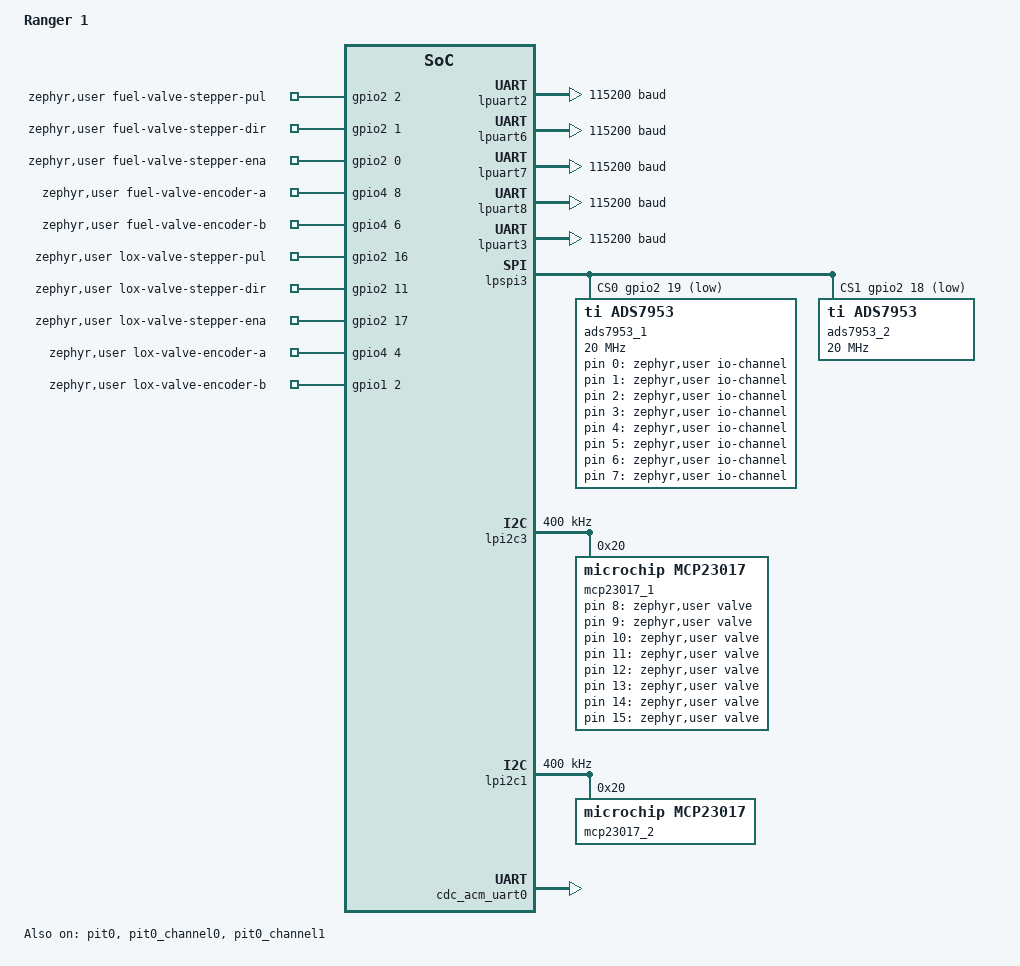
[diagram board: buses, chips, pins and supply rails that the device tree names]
/*
Ranger 1 board.
 */

/dts-v1/;

#include <../boards/pjrc/teensy4/teensy41.dts>

#define ANALOG_SENSORS_ADC_RESOLUTION 12
#define ANALOG_SENSORS_ADC_OVERSAMPLING 0

/ {
    model = "Ranger 1";

    aliases {
        // VN-300 IMU
        imu-uart = &lpuart6; // TX: Pin 1 (AD_B0_02), RX: Pin 0 (AD_B0_03)

        // TF02-Pro LiDARs
        lidar-1-uart = &lpuart7; // TX: Pin 29 (EMC_31), RX: Pin 28 (EMC_32)
        lidar-2-uart = &lpuart8; // TX: Pin 20 (AD_B1_10), RX: Pin 21 (AD_B1_11)

        // JAVAD TR-2S GNSS
        gnss-uart = &lpuart3; // TX: Pin 14, RX: Pin 13

        // // RFM95W LoRa tranceiver
        // lora-tranceiver = &sx1276;

        // Throttle motor driver hardware timers, controls PUL/DIR signals.
        fuel-valve-stepper-pulse-counter = &pit0_channel0;
        lox-valve-stepper-pulse-counter = &pit0_channel1;
    };

    zephyr,user {
        // Throttle motor drivers
        fuel-valve-stepper-pul-gpios = <&gpio2 2 GPIO_ACTIVE_HIGH>; // Pin 11
        fuel-valve-stepper-dir-gpios = <&gpio2 1 GPIO_ACTIVE_HIGH>; // Pin 12
        fuel-valve-stepper-ena-gpios = <&gpio2 0 GPIO_ACTIVE_HIGH>; // Pin 10
        fuel-valve-encoder-a-gpios = <&gpio4 8 GPIO_ACTIVE_HIGH>; // Pin 5
        fuel-valve-encoder-b-gpios = <&gpio4 6 GPIO_ACTIVE_HIGH>; // Pin 4

        lox-valve-stepper-pul-gpios = <&gpio2 16 GPIO_ACTIVE_HIGH>; // Pin 8
        lox-valve-stepper-dir-gpios = <&gpio2 11 GPIO_ACTIVE_HIGH>; // Pin 9
        lox-valve-stepper-ena-gpios = <&gpio2 17 GPIO_ACTIVE_HIGH>; // Pin 7
        lox-valve-encoder-a-gpios = <&gpio4 4 GPIO_ACTIVE_HIGH>; // Pin 2
        lox-valve-encoder-b-gpios = <&gpio1 2 GPIO_ACTIVE_HIGH>; // Pin 1

        // ADC channels used by AnalogSensors.
        analog-sensor-max-adc-channels = <16>;
        io-channels =
            <&ads7953_1 0>,
            <&ads7953_1 1>,
            <&ads7953_1 2>,
            <&ads7953_1 3>,
            <&ads7953_1 4>,
            <&ads7953_1 5>,
            <&ads7953_1 6>,
            <&ads7953_1 7>,
            <&ads7953_1 8>,
            <&ads7953_1 9>,
            <&ads7953_1 10>,
            <&ads7953_1 11>,
            <&ads7953_1 12>,
            <&ads7953_1 13>,
            <&ads7953_1 14>,
            <&ads7953_1 15>,
            <&ads7953_2 0>,
            <&ads7953_2 1>,
            <&ads7953_2 2>,
            <&ads7953_2 3>,
            <&ads7953_2 4>,
            <&ads7953_2 5>,
            <&ads7953_2 6>,
            <&ads7953_2 7>,
            <&ads7953_2 8>,
            <&ads7953_2 9>,
            <&ads7953_2 10>,
            <&ads7953_2 11>,
            <&ads7953_2 12>,
            <&ads7953_2 13>,
            <&ads7953_2 14>,
            <&ads7953_2 15>;
        analog-sensor-adcs = <&ads7953_1 &ads7953_2>;
        analog-sensor-adc-oversampling = <ANALOG_SENSORS_ADC_OVERSAMPLING>;
        analog-sensor-adc-resolution = <ANALOG_SENSORS_ADC_RESOLUTION>;

        // GPIOs connected to valves. Valve channel numbers are indexed by their position in this list.
        valve-gpios = 
            <&mcp23017_1 8 GPIO_ACTIVE_HIGH>,
            <&mcp23017_1 9 GPIO_ACTIVE_HIGH>,
            <&mcp23017_1 10 GPIO_ACTIVE_HIGH>,
            <&mcp23017_1 11 GPIO_ACTIVE_HIGH>,
            <&mcp23017_1 12 GPIO_ACTIVE_HIGH>,
            <&mcp23017_1 13 GPIO_ACTIVE_HIGH>,
            <&mcp23017_1 14 GPIO_ACTIVE_HIGH>,
            <&mcp23017_1 15 GPIO_ACTIVE_HIGH>,
            <&mcp23017_1 0 GPIO_ACTIVE_HIGH>,
            <&mcp23017_1 1 GPIO_ACTIVE_HIGH>,
            <&mcp23017_1 2 GPIO_ACTIVE_HIGH>,
            <&mcp23017_1 3 GPIO_ACTIVE_HIGH>,
            <&mcp23017_1 4 GPIO_ACTIVE_HIGH>,
            <&mcp23017_1 5 GPIO_ACTIVE_HIGH>,
            <&mcp23017_1 6 GPIO_ACTIVE_HIGH>,
            <&mcp23017_1 7 GPIO_ACTIVE_HIGH>,
            <&mcp23017_2 8 GPIO_ACTIVE_HIGH>,
            <&mcp23017_2 9 GPIO_ACTIVE_HIGH>,
            <&mcp23017_2 10 GPIO_ACTIVE_HIGH>,
            <&mcp23017_2 11 GPIO_ACTIVE_HIGH>,
            <&mcp23017_2 12 GPIO_ACTIVE_HIGH>,
            <&mcp23017_2 13 GPIO_ACTIVE_HIGH>,
            <&mcp23017_2 14 GPIO_ACTIVE_HIGH>,
            <&mcp23017_2 15 GPIO_ACTIVE_HIGH>,
            <&mcp23017_2 0 GPIO_ACTIVE_HIGH>,
            <&mcp23017_2 1 GPIO_ACTIVE_HIGH>,
            <&mcp23017_2 2 GPIO_ACTIVE_HIGH>,
            <&mcp23017_2 3 GPIO_ACTIVE_HIGH>,
            <&mcp23017_2 4 GPIO_ACTIVE_HIGH>,
            <&mcp23017_2 5 GPIO_ACTIVE_HIGH>,
            <&mcp23017_2 6 GPIO_ACTIVE_HIGH>,
            <&mcp23017_2 7 GPIO_ACTIVE_HIGH>;
    };

    chosen {
        zephyr,console = &lpuart2;
        // zephyr,console = &cdc_acm_uart0;
    };
};

// Debug logging
&lpuart2 {
    status = "okay";
    current-speed = <115200>;
};

// VN-300 IMU
&lpuart6 {
    status = "okay";
    current-speed = <115200>;
};

// LiDARs
&lpuart7 {
    status = "okay";
    current-speed = <115200>;
};

&lpuart8 {
    status = "okay";
    current-speed = <115200>;
};

// JAVAD TR-2S GNSS
&lpuart3 {
    status = "okay";
    current-speed = <115200>; // Is this right?
};

&lpspi3 {
    status = "okay";
    pinctrl-names = "default";
    pinctrl-0 = <&pinmux_lpspi3>;

    pcs-sck-delay = <10>;
    sck-pcs-delay = <40>;

    cs-gpios = <&gpio2 19 GPIO_ACTIVE_LOW>, // Pin 37
               <&gpio2 18 GPIO_ACTIVE_LOW>; // Pin 36

    ads7953_1: adc@0 {
        status = "okay";
        compatible = "ti,ads7953";
        reg = <0>;
        spi-max-frequency = <20000000>; // Maximum for ADS7953.
        #io-channel-cells = <1>;
        ti,range = <2>; // 2x V_REF of 2.5V

        #address-cells = <1>;
        #size-cells = <0>;

        channel@0 {
            reg = <0>;
            zephyr,gain = "ADC_GAIN_1";
            zephyr,reference = "ADC_REF_VDD_1";
            zephyr,acquisition-time = <ADC_ACQ_TIME_DEFAULT>;
            zephyr,resolution = <ANALOG_SENSORS_ADC_RESOLUTION>;
        };

        channel@1 {
            reg = <1>;
            zephyr,gain = "ADC_GAIN_1";
            zephyr,reference = "ADC_REF_VDD_1";
            zephyr,acquisition-time = <ADC_ACQ_TIME_DEFAULT>;
            zephyr,resolution = <ANALOG_SENSORS_ADC_RESOLUTION>;
        };

        channel@2 {
            reg = <2>;
            zephyr,gain = "ADC_GAIN_1";
            zephyr,reference = "ADC_REF_VDD_1";
            zephyr,acquisition-time = <ADC_ACQ_TIME_DEFAULT>;
            zephyr,resolution = <ANALOG_SENSORS_ADC_RESOLUTION>;
        };

        channel@3 {
            reg = <3>;
            zephyr,gain = "ADC_GAIN_1";
            zephyr,reference = "ADC_REF_VDD_1";
            zephyr,acquisition-time = <ADC_ACQ_TIME_DEFAULT>;
            zephyr,resolution = <ANALOG_SENSORS_ADC_RESOLUTION>;
        };

        channel@4 {
            reg = <4>;
            zephyr,gain = "ADC_GAIN_1";
            zephyr,reference = "ADC_REF_VDD_1";
            zephyr,acquisition-time = <ADC_ACQ_TIME_DEFAULT>;
            zephyr,resolution = <ANALOG_SENSORS_ADC_RESOLUTION>;
        };

        channel@5 {
            reg = <5>;
            zephyr,gain = "ADC_GAIN_1";
            zephyr,reference = "ADC_REF_VDD_1";
            zephyr,acquisition-time = <ADC_ACQ_TIME_DEFAULT>;
            zephyr,resolution = <ANALOG_SENSORS_ADC_RESOLUTION>;
        };

        channel@6 {
            reg = <6>;
            zephyr,gain = "ADC_GAIN_1";
            zephyr,reference = "ADC_REF_VDD_1";
            zephyr,acquisition-time = <ADC_ACQ_TIME_DEFAULT>;
            zephyr,resolution = <ANALOG_SENSORS_ADC_RESOLUTION>;
        };

        channel@7 {
            reg = <7>;
            zephyr,gain = "ADC_GAIN_1";
            zephyr,reference = "ADC_REF_VDD_1";
            zephyr,acquisition-time = <ADC_ACQ_TIME_DEFAULT>;
            zephyr,resolution = <ANALOG_SENSORS_ADC_RESOLUTION>;
        };

        channel@8 {
            reg = <8>;
            zephyr,gain = "ADC_GAIN_1";
            zephyr,reference = "ADC_REF_VDD_1";
            zephyr,acquisition-time = <ADC_ACQ_TIME_DEFAULT>;
            zephyr,resolution = <ANALOG_SENSORS_ADC_RESOLUTION>;
        };

        channel@9 {
            reg = <9>;
            zephyr,gain = "ADC_GAIN_1";
            zephyr,reference = "ADC_REF_VDD_1";
            zephyr,acquisition-time = <ADC_ACQ_TIME_DEFAULT>;
            zephyr,resolution = <ANALOG_SENSORS_ADC_RESOLUTION>;
        };

        channel@a {
            reg = <10>;
            zephyr,gain = "ADC_GAIN_1";
            zephyr,reference = "ADC_REF_VDD_1";
            zephyr,acquisition-time = <ADC_ACQ_TIME_DEFAULT>;
            zephyr,resolution = <ANALOG_SENSORS_ADC_RESOLUTION>;
        };

        channel@b {
            reg = <11>;
            zephyr,gain = "ADC_GAIN_1";
            zephyr,reference = "ADC_REF_VDD_1";
            zephyr,acquisition-time = <ADC_ACQ_TIME_DEFAULT>;
            zephyr,resolution = <ANALOG_SENSORS_ADC_RESOLUTION>;
        };

        channel@c {
            reg = <12>;
            zephyr,gain = "ADC_GAIN_1";
            zephyr,reference = "ADC_REF_VDD_1";
            zephyr,acquisition-time = <ADC_ACQ_TIME_DEFAULT>;
            zephyr,resolution = <ANALOG_SENSORS_ADC_RESOLUTION>;
        };

        channel@d {
            reg = <13>;
            zephyr,gain = "ADC_GAIN_1";
            zephyr,reference = "ADC_REF_VDD_1";
            zephyr,acquisition-time = <ADC_ACQ_TIME_DEFAULT>;
            zephyr,resolution = <ANALOG_SENSORS_ADC_RESOLUTION>;
        };

        channel@e {
            reg = <14>;
            zephyr,gain = "ADC_GAIN_1";
            zephyr,reference = "ADC_REF_VDD_1";
            zephyr,acquisition-time = <ADC_ACQ_TIME_DEFAULT>;
            zephyr,resolution = <ANALOG_SENSORS_ADC_RESOLUTION>;
        };

        channel@f {
            reg = <15>;
            zephyr,gain = "ADC_GAIN_1";
            zephyr,reference = "ADC_REF_VDD_1";
            zephyr,acquisition-time = <ADC_ACQ_TIME_DEFAULT>;
            zephyr,resolution = <ANALOG_SENSORS_ADC_RESOLUTION>;
        };
    };

    ads7953_2: adc@1 {
        status = "okay";
        compatible = "ti,ads7953";
        reg = <1>;
        spi-max-frequency = <20000000>; // Maximum for ADS7953.
        #io-channel-cells = <1>;
        ti,range = <2>;

        #address-cells = <1>;
        #size-cells = <0>;

        channel@0 {
            reg = <0>;
            zephyr,gain = "ADC_GAIN_1";
            zephyr,reference = "ADC_REF_VDD_1";
            zephyr,acquisition-time = <ADC_ACQ_TIME_DEFAULT>;
            zephyr,resolution = <ANALOG_SENSORS_ADC_RESOLUTION>;
        };

        channel@1 {
            reg = <1>;
            zephyr,gain = "ADC_GAIN_1";
            zephyr,reference = "ADC_REF_VDD_1";
            zephyr,acquisition-time = <ADC_ACQ_TIME_DEFAULT>;
            zephyr,resolution = <ANALOG_SENSORS_ADC_RESOLUTION>;
        };

        channel@2 {
            reg = <2>;
            zephyr,gain = "ADC_GAIN_1";
            zephyr,reference = "ADC_REF_VDD_1";
            zephyr,acquisition-time = <ADC_ACQ_TIME_DEFAULT>;
            zephyr,resolution = <ANALOG_SENSORS_ADC_RESOLUTION>;
        };

        channel@3 {
            reg = <3>;
            zephyr,gain = "ADC_GAIN_1";
            zephyr,reference = "ADC_REF_VDD_1";
            zephyr,acquisition-time = <ADC_ACQ_TIME_DEFAULT>;
            zephyr,resolution = <ANALOG_SENSORS_ADC_RESOLUTION>;
        };

        channel@4 {
            reg = <4>;
            zephyr,gain = "ADC_GAIN_1";
            zephyr,reference = "ADC_REF_VDD_1";
            zephyr,acquisition-time = <ADC_ACQ_TIME_DEFAULT>;
            zephyr,resolution = <ANALOG_SENSORS_ADC_RESOLUTION>;
        };

        channel@5 {
            reg = <5>;
            zephyr,gain = "ADC_GAIN_1";
            zephyr,reference = "ADC_REF_VDD_1";
            zephyr,acquisition-time = <ADC_ACQ_TIME_DEFAULT>;
            zephyr,resolution = <ANALOG_SENSORS_ADC_RESOLUTION>;
        };

        channel@6 {
            reg = <6>;
            zephyr,gain = "ADC_GAIN_1";
            zephyr,reference = "ADC_REF_VDD_1";
            zephyr,acquisition-time = <ADC_ACQ_TIME_DEFAULT>;
            zephyr,resolution = <ANALOG_SENSORS_ADC_RESOLUTION>;
        };

        channel@7 {
            reg = <7>;
            zephyr,gain = "ADC_GAIN_1";
            zephyr,reference = "ADC_REF_VDD_1";
            zephyr,acquisition-time = <ADC_ACQ_TIME_DEFAULT>;
            zephyr,resolution = <ANALOG_SENSORS_ADC_RESOLUTION>;
        };

        channel@8 {
            reg = <8>;
            zephyr,gain = "ADC_GAIN_1";
            zephyr,reference = "ADC_REF_VDD_1";
            zephyr,acquisition-time = <ADC_ACQ_TIME_DEFAULT>;
            zephyr,resolution = <ANALOG_SENSORS_ADC_RESOLUTION>;
        };

        channel@9 {
            reg = <9>;
            zephyr,gain = "ADC_GAIN_1";
            zephyr,reference = "ADC_REF_VDD_1";
            zephyr,acquisition-time = <ADC_ACQ_TIME_DEFAULT>;
            zephyr,resolution = <ANALOG_SENSORS_ADC_RESOLUTION>;
        };

        channel@a {
            reg = <10>;
            zephyr,gain = "ADC_GAIN_1";
            zephyr,reference = "ADC_REF_VDD_1";
            zephyr,acquisition-time = <ADC_ACQ_TIME_DEFAULT>;
            zephyr,resolution = <ANALOG_SENSORS_ADC_RESOLUTION>;
        };

        channel@b {
            reg = <11>;
            zephyr,gain = "ADC_GAIN_1";
            zephyr,reference = "ADC_REF_VDD_1";
            zephyr,acquisition-time = <ADC_ACQ_TIME_DEFAULT>;
            zephyr,resolution = <ANALOG_SENSORS_ADC_RESOLUTION>;
        };

        channel@c {
            reg = <12>;
            zephyr,gain = "ADC_GAIN_1";
            zephyr,reference = "ADC_REF_VDD_1";
            zephyr,acquisition-time = <ADC_ACQ_TIME_DEFAULT>;
            zephyr,resolution = <ANALOG_SENSORS_ADC_RESOLUTION>;
        };

        channel@d {
            reg = <13>;
            zephyr,gain = "ADC_GAIN_1";
            zephyr,reference = "ADC_REF_VDD_1";
            zephyr,acquisition-time = <ADC_ACQ_TIME_DEFAULT>;
            zephyr,resolution = <ANALOG_SENSORS_ADC_RESOLUTION>;
        };

        channel@e {
            reg = <14>;
            zephyr,gain = "ADC_GAIN_1";
            zephyr,reference = "ADC_REF_VDD_1";
            zephyr,acquisition-time = <ADC_ACQ_TIME_DEFAULT>;
            zephyr,resolution = <ANALOG_SENSORS_ADC_RESOLUTION>;
        };

        channel@f {
            reg = <15>;
            zephyr,gain = "ADC_GAIN_1";
            zephyr,reference = "ADC_REF_VDD_1";
            zephyr,acquisition-time = <ADC_ACQ_TIME_DEFAULT>;
            zephyr,resolution = <ANALOG_SENSORS_ADC_RESOLUTION>;
        };
    };
};

// GPIO expander 1
&lpi2c3 {
    status = "okay";
    pinctrl-0 = <&pinmux_lpi2c3>;
    pinctrl-names = "default";
    clock-frequency = <400000>;

    mcp23017_1: gpio@20 {
        compatible = "microchip,mcp23017";
        reg = <0x20>;
        gpio-controller;
        #gpio-cells = <2>;
		ngpios = <16>;
    };
};

// GPIO expander 2
&lpi2c1 {
    status = "okay";
    pinctrl-0 = <&pinmux_lpi2c1>;
    pinctrl-names = "default";
    clock-frequency = <400000>;

    mcp23017_2: gpio@20 {
        compatible = "microchip,mcp23017";
        reg = <0x20>;
        gpio-controller;
        #gpio-cells = <2>;
		ngpios = <16>;
    };
};

// Timer for stepper pulses.
// Docs: https: //docs.zephyrproject.org/latest/build/dts/api/bindings/counter/nxp%2Cpit.html
// Teensyduino equivalent: https: //sourcegraph.com/github.com/PaulStoffregen/cores/-/blob/teensy4/IntervalTimer.cpp
&pit0 {
    status = "okay";
};

&pit0_channel0 {
    status = "okay";
};

&pit0_channel1 {
    status = "okay";
};

&zephyr_udc0 {
    cdc_acm_uart0: cdc_acm_uart0 {
        compatible = "zephyr,cdc-acm-uart";
        label = "CDC_ACM_0";
    };
};

&enet_mac {
    /delete-property/ nxp,unique-mac;
    local-mac-address = [ 67 67 67 67 67 67  ];
};
